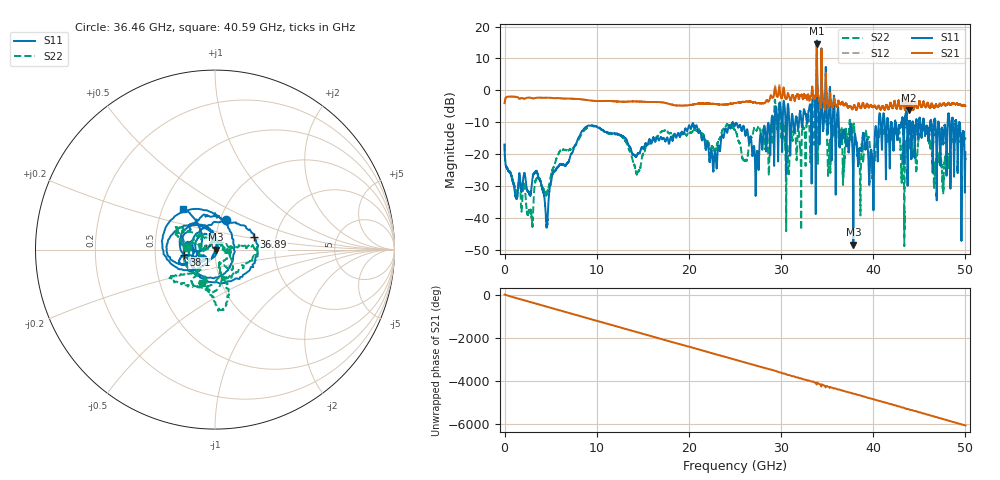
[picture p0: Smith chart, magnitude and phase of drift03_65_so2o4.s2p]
!Created with skrf (http://scikit-rf.org).
# Hz S RI R 50.0
!freq ReS11 ImS11 ReS21 ImS21 ReS12 ImS12 ReS22 ImS22
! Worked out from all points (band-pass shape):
!   10001 points, 300 kHz to 50 GHz, reference 50 ohm
!   highest |S21| = 14.62 dB at 33.88 GHz (marker M1); lowest = -6.2 dB at 43.89 GHz (marker M2)
!   |S21| within 3 dB of the highest: 33.86942 GHz to 33.8878 GHz (18.39 MHz wide, 0.0543 % of centre); 34.37713 GHz to 34.38802 GHz (10.89 MHz wide, 0.0317 % of centre)
!   lowest |S11| = -48.4 dB at 37.84 GHz (marker M3), VSWR 1.01, Z = 50.4 - j0.0848 ohm
!   |S11| at or under -10 dB: start of sweep to 28.94 GHz; 36.27 GHz to 40.6 GHz (4.335 GHz wide, 11.3 % of centre); 47.07 GHz to 48.08 GHz (1.005 GHz wide, 2.11 % of centre) (the widest 3 of 54)
!   |S22| runs from -48.9 to 11.2 dB; largest |S21 - S12| = 0.81
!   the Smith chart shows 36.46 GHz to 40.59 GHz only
!   S11 on the Smith chart (normalised r, x): 36.46 GHz: 1.06, +0.37; 36.89 GHz: 1.54, +0.23; 38.1 GHz: 0.70, -0.04; 40.59 GHz: 0.63, +0.31
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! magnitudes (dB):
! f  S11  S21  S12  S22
! 300 kHz  -17.0  -4.0  -4.0  -16.9
! 2.82 GHz  -32.7  -2.4  -2.4  -38.0
! 4.555 GHz  -43.1  -2.3  -2.3  -32.4
! 8.335 GHz  -13.1  -2.8  -2.8  -13.9
! 14.44 GHz  -19.9  -3.5  -3.5  -26.1
! 16.67 GHz  -15.4  -3.7  -3.7  -14.3
! 22.82 GHz  -19.2  -4.3  -4.3  -19.1
! 25 GHz  -11.0  -4.0  -4.0  -12.5
! 27.39 GHz  -19.4  -4.1  -4.1  -12.4
! 29.6 GHz  -10.5  -2.0  -2.1  -11.7
! 30.7 GHz  -5.7  -1.4  -1.5  -17.3
! 33.34 GHz  -13.6  -0.3  -0.4  -7.0
! 33.88 GHz  15.6  14.6  14.3  11.1
! 36.46 GHz  -15.0  -4.4  -4.4  -16.1
! 36.89 GHz  -12.8  -4.6  -4.6  -20.5
! 37.84 GHz  -48.4  -5.4  -5.5  -11.1
! 38.1 GHz  -15.0  -5.8  -5.7  -16.7
! 39.81 GHz  -19.2  -4.9  -4.8  -23.1
! 40.59 GHz  -10.8  -4.9  -4.9  -14.0
! 41.67 GHz  -12.2  -5.9  -5.9  -14.8
! 43.89 GHz  -9.8  -6.2  -6.2  -16.5
! 50 GHz  -19.4  -4.9  -4.9  -15.1
